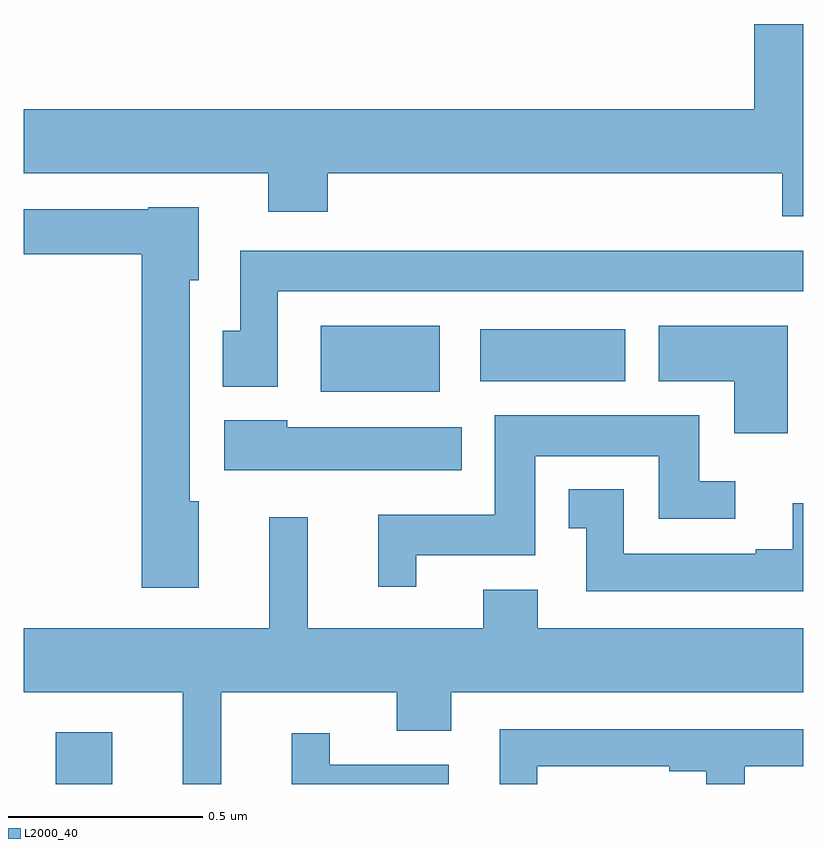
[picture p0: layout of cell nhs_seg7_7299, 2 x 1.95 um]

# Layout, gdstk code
import gdstk
lib = gdstk.Library(unit=1e-6, precision=1e-09)
def R(c, l, rs):  # rectangles x0, y0, x1, y1
    for r in rs: c.add(gdstk.rectangle(r[:2], r[2:], *l))
def P(c, l, *ps):  # polygons
    for p in ps: c.add(gdstk.Polygon(p, *l))
L2000_40 = (2000, 40)

nhs_seg7_7299 = lib.new_cell('nhs_seg7_7299')
R(nhs_seg7_7299, L2000_40, [(209.081,1047,209.227,1047.133), (209.762,1048.007,210.067,1048.177), (210.171,1048.034,210.544,1048.168)])
P(nhs_seg7_7299, L2000_40, [(211,1048.951),(210.875,1048.951),(210.875,1048.732),(209,1048.732),(209,1048.568),(209.627,1048.568),(209.627,1048.469),(209.78,1048.469),(209.78,1048.568),(210.947,1048.568),(210.947,1048.457),(211,1048.457)],
  [(209.449,1047.726),(209.425,1047.726),(209.425,1048.293),(209.449,1048.293),(209.449,1048.48),(209.319,1048.48),(209.319,1048.476),(209,1048.476),(209,1048.36),(209.303,1048.36),(209.303,1047.504),(209.449,1047.504)],
  [(209.652,1048.265),(211,1048.265),(211,1048.369),(209.555,1048.369),(209.555,1048.164),(209.51,1048.164),(209.51,1048.02),(209.652,1048.02)],
  [(210.961,1048.177),(210.629,1048.177),(210.629,1048.034),(210.824,1048.034),(210.824,1047.9),(210.961,1047.9)],
  [(210.007,1047.587),(210.313,1047.587),(210.313,1047.842),(210.629,1047.842),(210.629,1047.681),(210.826,1047.681),(210.826,1047.777),(210.733,1047.777),(210.733,1047.946),(210.209,1047.946),(210.209,1047.691),(209.909,1047.691),(209.909,1047.507),(210.007,1047.507)],
  [(210.124,1047.916),(209.676,1047.916),(209.676,1047.934),(209.514,1047.934),(209.514,1047.806),(210.124,1047.806)],
  [(211,1047.721),(210.974,1047.721),(210.974,1047.603),(210.878,1047.603),(210.878,1047.591),(210.54,1047.591),(210.54,1047.757),(210.398,1047.757),(210.398,1047.657),(210.444,1047.657),(210.444,1047.495),(211,1047.495)],
  [(209.507,1047.236),(209.957,1047.236),(209.957,1047.137),(210.097,1047.137),(210.097,1047.236),(211,1047.236),(211,1047.4),(210.319,1047.4),(210.319,1047.499),(210.179,1047.499),(210.179,1047.4),(209.729,1047.4),(209.729,1047.685),(209.63,1047.685),(209.63,1047.4),(209,1047.4),(209,1047.236),(209.408,1047.236),(209.408,1047),(209.507,1047)],
  [(210.318,1047.045),(210.656,1047.045),(210.656,1047.033),(210.752,1047.033),(210.752,1047),(210.85,1047),(210.85,1047.045),(211,1047.045),(211,1047.141),(210.222,1047.141),(210.222,1047),(210.318,1047)],
  [(210.091,1047.049),(209.785,1047.049),(209.785,1047.13),(209.687,1047.13),(209.687,1047),(210.091,1047)])

lib.write_gds('nhs_seg7_7299.gds')
